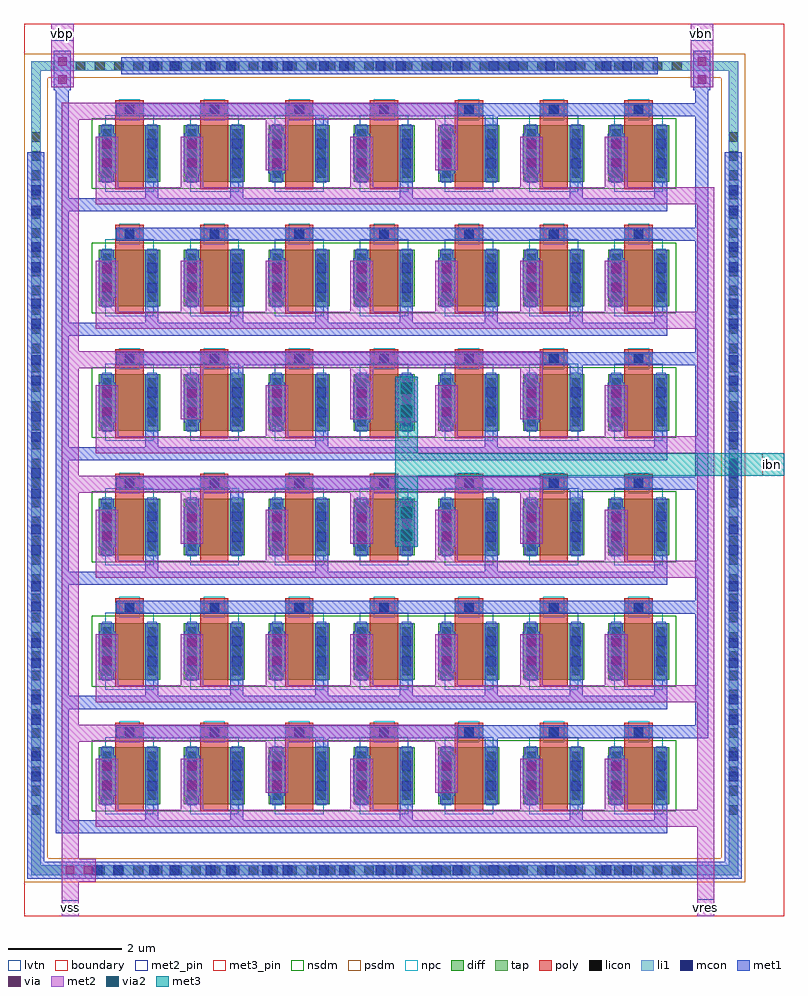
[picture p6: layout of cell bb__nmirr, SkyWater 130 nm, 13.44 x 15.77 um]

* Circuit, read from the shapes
.subckt bb__nmirr ibn vbn vbp vres vss
XM1 vbp vbn vres vss sky130_fd_pr__nfet_01v8_lvt w=1 l=0.5 m=32
XM2 vbn vbn vss vss sky130_fd_pr__nfet_01v8_lvt w=1 l=0.5 m=8
XM3 ibn vbn vss vss sky130_fd_pr__nfet_01v8_lvt w=1 l=0.5 m=2
.ends

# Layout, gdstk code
from math import pi, radians
import gdstk
lib = gdstk.Library(unit=1e-6, precision=1e-09)
def R(c, l, rs):  # rectangles x0, y0, x1, y1
    for r in rs: c.add(gdstk.rectangle(r[:2], r[2:], *l))
def A(c, l, x, y, w, h, nx, ny, dx, dy):  # array of equal rectangles
    R(c, l, [(x+i*dx, y+j*dy, x+i*dx+w, y+j*dy+h) for i in range(nx) for j in range(ny)])
diff = (65, 20)
tap = (65, 44)
poly = (66, 20)
licon = (66, 44)
li1 = (67, 20)
mcon = (67, 44)
met1 = (68, 20)
via = (68, 44)
met2_pin = (69, 16)
met2 = (69, 20)
via2 = (69, 44)
met3_pin = (70, 16)
met3 = (70, 20)
nsdm = (93, 44)
psdm = (94, 20)
npc = (95, 20)
lvtn = (125, 44)
boundary = (235, 4)

bbn__guardring_n = lib.new_cell('bbn__Guardring_N')
A(bbn__guardring_n, licon, 3.295, 1.675, 0.17, 0.17, 31, 1, 0.34, 0)
A(bbn__guardring_n, licon, 2.165, 2.74, 0.17, 0.17, 1, 36, 0, 0.34)
A(bbn__guardring_n, licon, 14.495, 2.74, 0.17, 0.17, 1, 36, 0, 0.34)
A(bbn__guardring_n, licon, 2.955, 15.895, 0.17, 0.17, 32, 1, 0.34, 0)
bbn__guardring_n.add(gdstk.FlexPath([(2.165,15.98),(14.58,15.98),(14.58,1.76),(2.25,1.76),(2.25,15.98)], 0.17, ends="flush", simple_path=True, layer=67, datatype=20))  # li1
bbn__guardring_n.add(gdstk.FlexPath([(2.165,15.98),(14.58,15.98),(14.58,1.76),(2.25,1.76),(2.25,15.98)], 0.17, ends="flush", simple_path=True, layer=65, datatype=44))  # tap
bbn__guardring_n.add(gdstk.FlexPath([(2.04,15.98),(14.58,15.98),(14.58,1.76),(2.25,1.76),(2.25,15.98)], 0.42, ends="flush", simple_path=True, layer=94, datatype=20))  # psdm

bbn__m2 = lib.new_cell('bbn__M2')
R(bbn__m2, diff, [(-0.54,-0.5,0.54,0.5)])
R(bbn__m2, poly, [(-0.25,-0.63,0.25,0.94)])
A(bbn__m2, licon, -0.48, -0.425, 0.17, 0.17, 1, 3, 0, 0.34)
A(bbn__m2, licon, 0.31, -0.425, 0.17, 0.17, 1, 3, 0, 0.34)
R(bbn__m2, licon, [(-0.085,0.69,0.085,0.86)])
R(bbn__m2, li1, [(-0.48,-0.52,-0.31,0.52), (0.31,-0.52,0.48,0.52), (-0.25,0.69,0.25,0.86)])
R(bbn__m2, mcon, [(-0.48,-0.265,-0.31,-0.095), (0.31,-0.265,0.48,-0.095), (-0.48,0.095,-0.31,0.265), (0.31,0.095,0.48,0.265), (-0.085,0.69,0.085,0.86)])
R(bbn__m2, met1, [(-0.51,-0.5,-0.28,0.5), (0.28,-0.5,0.51,0.5), (-0.23,0.66,0.23,0.89)])
R(bbn__m2, nsdm, [(-0.665,-0.625,0.665,0.625)])
R(bbn__m2, npc, [(-0.185,0.59,0.185,0.96)])
R(bbn__m2, lvtn, [(-0.43,-0.68,0.43,0.68)])

bbn__m3 = lib.new_cell('bbn__M3')
R(bbn__m3, diff, [(-0.54,-0.5,0.54,0.5)])
R(bbn__m3, poly, [(-0.25,-0.63,0.25,0.94)])
A(bbn__m3, licon, -0.48, -0.425, 0.17, 0.17, 1, 3, 0, 0.34)
A(bbn__m3, licon, 0.31, -0.425, 0.17, 0.17, 1, 3, 0, 0.34)
R(bbn__m3, licon, [(-0.085,0.69,0.085,0.86)])
R(bbn__m3, li1, [(-0.48,-0.52,-0.31,0.52), (0.31,-0.52,0.48,0.52), (-0.25,0.69,0.25,0.86)])
R(bbn__m3, mcon, [(-0.48,-0.265,-0.31,-0.095), (0.31,-0.265,0.48,-0.095), (-0.48,0.095,-0.31,0.265), (0.31,0.095,0.48,0.265), (-0.085,0.69,0.085,0.86)])
R(bbn__m3, met1, [(-0.51,-0.5,-0.28,0.5), (0.28,-0.5,0.51,0.5), (-0.23,0.66,0.23,0.89)])
R(bbn__m3, nsdm, [(-0.665,-0.625,0.665,0.625)])
R(bbn__m3, npc, [(-0.185,0.59,0.185,0.96)])
R(bbn__m3, lvtn, [(-0.43,-0.68,0.43,0.68)])

via__li_m1 = lib.new_cell('via__LI_M1')
R(via__li_m1, li1, [(0.03,0.03,0.56,0.2)])
R(via__li_m1, mcon, [(0.03,0.03,0.2,0.2), (0.39,0.03,0.56,0.2)])
R(via__li_m1, met1, [(0,0,0.59,0.23)])

bbn__m1 = lib.new_cell('bbn__M1')
R(bbn__m1, diff, [(-0.54,-0.5,0.54,0.5)])
R(bbn__m1, poly, [(-0.25,-0.63,0.25,0.94)])
A(bbn__m1, licon, -0.48, -0.425, 0.17, 0.17, 1, 3, 0, 0.34)
A(bbn__m1, licon, 0.31, -0.425, 0.17, 0.17, 1, 3, 0, 0.34)
R(bbn__m1, licon, [(-0.085,0.69,0.085,0.86)])
R(bbn__m1, li1, [(-0.48,-0.52,-0.31,0.52), (0.31,-0.52,0.48,0.52), (-0.25,0.69,0.25,0.86)])
R(bbn__m1, mcon, [(-0.48,-0.265,-0.31,-0.095), (0.31,-0.265,0.48,-0.095), (-0.48,0.095,-0.31,0.265), (0.31,0.095,0.48,0.265), (-0.085,0.69,0.085,0.86)])
R(bbn__m1, met1, [(-0.51,-0.5,-0.28,0.5), (0.28,-0.5,0.51,0.5), (-0.23,0.66,0.23,0.89)])
R(bbn__m1, nsdm, [(-0.665,-0.625,0.665,0.625)])
R(bbn__m1, npc, [(-0.185,0.59,0.185,0.96)])
R(bbn__m1, lvtn, [(-0.43,-0.68,0.43,0.68)])

via__m2_m3 = lib.new_cell('via__M2_M3')
R(via__m2_m3, met2, [(0,0,0.8,0.4)])
R(via__m2_m3, via2, [(0.1,0.1,0.3,0.3), (0.1,0.1,0.3,0.3), (0.5,0.1,0.7,0.3), (0.5,0.1,0.7,0.3)])
R(via__m2_m3, met3, [(0,0,0.8,0.4)])

via__m1_m2 = lib.new_cell('via__M1_M2')
R(via__m1_m2, met1, [(0,0.05,0.7,0.35)])
R(via__m1_m2, via, [(0.115,0.125,0.265,0.275), (0.435,0.125,0.585,0.275)])
R(via__m1_m2, met2, [(0.05,0,0.65,0.4)])

bb__nmirr = lib.new_cell('bb__nmirr')
A(bb__nmirr, met1, 0.565, 1.46, 10.81, 0.23, 1, 6, 0, 2.2)
A(bb__nmirr, met1, 3.645, 1.69, 0.23, 0.29, 3, 2, 3, 11)
A(bb__nmirr, met1, 1.635, 3.14, 9.46, 0.23, 1, 6, 0, 2.2)
A(bb__nmirr, met1, 2.145, 3.89, 0.23, 0.29, 7, 2, 1.5, 6.6)
A(bb__nmirr, met1, 2.145, 6.09, 0.23, 0.29, 4, 2, 3, 2.2)
R(bb__nmirr, met1, [(2.145,1.69,2.375,1.98), (11.145,1.69,11.375,1.98), (5.145,2.98,5.375,3.14), (8.145,2.98,8.375,3.14), (3.645,7.38,3.875,7.54), (9.645,7.38,9.875,7.54), (3.645,9.58,3.875,9.74), (9.645,9.58,9.875,9.74), (2.145,12.69,2.375,12.98), (11.145,12.69,11.375,12.98), (5.145,13.98,5.375,14.14), (8.145,13.98,8.375,14.14)])
R(bb__nmirr, met2_pin, [(0.67,0,0.97,0.28), (11.905,0,12.205,0.3), (0.48,15.47,0.88,15.77), (11.785,15.47,12.185,15.77)])
A(bb__nmirr, met2, 2.77, 1.88, 0.4, 0.3, 3, 2, 3, 5.3)
A(bb__nmirr, met2, 1.27, 4.08, 0.4, 0.3, 7, 2, 1.5, 6.6)
A(bb__nmirr, met2, 1.27, 6.28, 0.4, 0.3, 4, 2, 3, 2.2)
A(bb__nmirr, met2, 2.77, 9.38, 0.4, 0.3, 3, 2, 3, 3.5)
R(bb__nmirr, met2, [(1.27,1.88,1.67,2.18), (10.27,1.88,10.67,2.18), (4.27,2.78,4.67,3.08), (7.27,2.78,7.67,3.08), (1.27,12.88,1.67,13.18), (10.27,12.88,10.67,13.18), (4.27,13.78,4.67,14.08), (7.27,13.78,7.67,14.08), (0.48,15.25,0.88,15.77), (11.785,15.25,12.185,15.77)])
R(bb__nmirr, met3_pin, [(13.05,7.78,13.435,8.18)])
R(bb__nmirr, met3, [(6.56,7.23,6.96,8.73)])
A(bb__nmirr, nsdm, 1.2, 1.855, 10.33, 1.25, 1, 6, 0, 2.2)
R(bb__nmirr, boundary, [(0,0,13.435,15.77)])
bb__nmirr.add(gdstk.FlexPath([(1.32,0.81),(10.97,0.81)], 0.3, ends="extended", simple_path=True, layer=68, datatype=20))  # met1
bb__nmirr.add(gdstk.FlexPath([(10.97,0.81),(12.54,0.81),(12.54,13.35)], 0.3, ends="extended", simple_path=True, layer=68, datatype=20))  # met1
bb__nmirr.add(gdstk.FlexPath([(1.32,0.81),(0.21,0.81),(0.21,13.35)], 0.3, ends="extended", simple_path=True, layer=68, datatype=20))  # met1
bb__nmirr.add(gdstk.FlexPath([(1.87,15.03),(11.055,15.03)], 0.3, ends="extended", simple_path=True, layer=68, datatype=20))  # met1
bb__nmirr.add(gdstk.FlexPath([(11.985,14.255),(11.095,14.255)], 0.23, ends="flush", simple_path=True, layer=68, datatype=20))  # met1
bb__nmirr.add(gdstk.FlexPath([(11.985,12.055),(11.095,12.055)], 0.23, ends="flush", simple_path=True, layer=68, datatype=20))  # met1
bb__nmirr.add(gdstk.FlexPath([(11.985,9.855),(11.095,9.855)], 0.23, ends="flush", simple_path=True, layer=68, datatype=20))  # met1
bb__nmirr.add(gdstk.FlexPath([(11.985,7.655),(11.095,7.655)], 0.23, ends="flush", simple_path=True, layer=68, datatype=20))  # met1
bb__nmirr.add(gdstk.FlexPath([(11.985,5.455),(11.095,5.455)], 0.23, ends="flush", simple_path=True, layer=68, datatype=20))  # met1
bb__nmirr.add(gdstk.FlexPath([(11.985,3.255),(11.095,3.255)], 0.23, ends="flush", simple_path=True, layer=68, datatype=20))  # met1
bb__nmirr.add(gdstk.FlexPath([(11.985,15.185),(11.985,3.255)], 0.23, ends="extended", simple_path=True, layer=68, datatype=20))  # met1
bb__nmirr.add(gdstk.FlexPath([(0.68,15.185),(0.68,1.575)], 0.23, ends="extended", simple_path=True, layer=68, datatype=20))  # met1
bb__nmirr.add(gdstk.FlexPath([(6.76,7.98),(13.235,7.98)], 0.4, ends="extended", simple_path=True, layer=70, datatype=20))  # met3
bb__nmirr.add(gdstk.FlexPath([(1.42,12.73),(12.055,12.73)], 0.3, ends="extended", simple_path=True, layer=69, datatype=20))  # met2
bb__nmirr.add(gdstk.FlexPath([(1.42,10.53),(12.055,10.53)], 0.3, ends="extended", simple_path=True, layer=69, datatype=20))  # met2
bb__nmirr.add(gdstk.FlexPath([(1.42,8.33),(12.055,8.33)], 0.3, ends="extended", simple_path=True, layer=69, datatype=20))  # met2
bb__nmirr.add(gdstk.FlexPath([(1.42,6.13),(12.055,6.13)], 0.3, ends="extended", simple_path=True, layer=69, datatype=20))  # met2
bb__nmirr.add(gdstk.FlexPath([(1.42,3.93),(12.055,3.93)], 0.3, ends="extended", simple_path=True, layer=69, datatype=20))  # met2
bb__nmirr.add(gdstk.FlexPath([(1.42,1.73),(12.055,1.73)], 0.3, ends="extended", simple_path=True, layer=69, datatype=20))  # met2
bb__nmirr.add(gdstk.FlexPath([(0.82,14.23),(7.52,14.23)], 0.3, ends="extended", simple_path=True, layer=69, datatype=20))  # met2
bb__nmirr.add(gdstk.FlexPath([(0.82,14.23),(0.82,0.15)], 0.3, ends="extended", simple_path=True, layer=69, datatype=20))  # met2
bb__nmirr.add(gdstk.FlexPath([(0.82,9.83),(9.02,9.83)], 0.3, ends="extended", simple_path=True, layer=69, datatype=20))  # met2
bb__nmirr.add(gdstk.FlexPath([(0.82,7.63),(9.02,7.63)], 0.3, ends="extended", simple_path=True, layer=69, datatype=20))  # met2
bb__nmirr.add(gdstk.FlexPath([(0.82,3.23),(7.52,3.23)], 0.3, ends="extended", simple_path=True, layer=69, datatype=20))  # met2
bb__nmirr.add(gdstk.FlexPath([(12.055,12.73),(12.055,0.15)], 0.3, ends="extended", simple_path=True, layer=69, datatype=20))  # met2
bb__nmirr.add(gdstk.Reference(bbn__guardring_n, (-2.04,-0.95)))
bb__nmirr.add(gdstk.Reference(bbn__m2, (6.365,13.48)))
bb__nmirr.add(gdstk.Reference(bbn__m2, (6.365,11.28)))
bb__nmirr.add(gdstk.Reference(bbn__m2, (6.365,2.48)))
bb__nmirr.add(gdstk.Reference(bbn__m2, (6.365,4.68)))
bb__nmirr.add(gdstk.Reference(bbn__m3, (6.365,6.88)))
bb__nmirr.add(gdstk.Reference(bbn__m3, (6.365,9.08)))
bb__nmirr.add(gdstk.Reference(via__li_m1, (6.775,0.925), rotation=pi))
bb__nmirr.add(gdstk.Reference(via__li_m1, (6.775,15.145), rotation=pi))
bb__nmirr.add(gdstk.Reference(bbn__m2, (10.865,11.28)))
bb__nmirr.add(gdstk.Reference(bbn__m1, (9.365,9.08)))
bb__nmirr.add(gdstk.Reference(via__m2_m3, (6.56,9.53), rotation=3*pi/2))
bb__nmirr.add(gdstk.Reference(bbn__m1, (7.865,13.48)))
bb__nmirr.add(gdstk.Reference(bbn__m2, (9.365,13.48)))
bb__nmirr.add(gdstk.Reference(bbn__m2, (10.865,9.08)))
bb__nmirr.add(gdstk.Reference(bbn__m2, (7.865,9.08)))
bb__nmirr.add(gdstk.Reference(bbn__m2, (10.865,13.48)))
bb__nmirr.add(gdstk.Reference(bbn__m2, (7.865,11.28)))
bb__nmirr.add(gdstk.Reference(via__li_m1, (12.655,8.355), rotation=pi/2))
bb__nmirr.add(gdstk.Reference(via__li_m1, (12.655,9.355), rotation=pi/2))
bb__nmirr.add(gdstk.Reference(via__li_m1, (12.655,10.355), rotation=pi/2))
bb__nmirr.add(gdstk.Reference(via__li_m1, (12.655,11.355), rotation=pi/2))
bb__nmirr.add(gdstk.Reference(via__li_m1, (12.655,12.355), rotation=pi/2))
bb__nmirr.add(gdstk.Reference(via__li_m1, (12.655,8.355), rotation=pi/2))
bb__nmirr.add(gdstk.Reference(via__li_m1, (12.655,9.355), rotation=pi/2))
bb__nmirr.add(gdstk.Reference(via__li_m1, (12.655,10.355), rotation=pi/2))
bb__nmirr.add(gdstk.Reference(via__li_m1, (12.655,11.355), rotation=pi/2))
bb__nmirr.add(gdstk.Reference(via__li_m1, (12.655,12.355), rotation=pi/2))
bb__nmirr.add(gdstk.Reference(bbn__m2, (9.365,11.28)))
bb__nmirr.add(gdstk.Reference(via__li_m1, (7.775,15.145), rotation=pi))
bb__nmirr.add(gdstk.Reference(via__li_m1, (8.775,15.145), rotation=pi))
bb__nmirr.add(gdstk.Reference(via__li_m1, (9.775,15.145), rotation=pi))
bb__nmirr.add(gdstk.Reference(via__li_m1, (10.775,15.145), rotation=pi))
bb__nmirr.add(gdstk.Reference(via__m1_m2, (10.67,13.83), rotation=3*pi/2, x_reflection=True))
bb__nmirr.add(gdstk.Reference(via__m1_m2, (10.67,13.83), rotation=3*pi/2, x_reflection=True))
bb__nmirr.add(gdstk.Reference(via__m1_m2, (12.185,15.3), rotation=3*pi/2, x_reflection=True))
bb__nmirr.add(gdstk.Reference(via__m1_m2, (7.67,9.43), rotation=3*pi/2, x_reflection=True))
bb__nmirr.add(gdstk.Reference(via__m1_m2, (10.67,9.43), rotation=3*pi/2, x_reflection=True))
bb__nmirr.add(gdstk.Reference(via__m1_m2, (10.67,11.63), rotation=3*pi/2, x_reflection=True))
bb__nmirr.add(gdstk.Reference(via__m1_m2, (9.17,11.63), rotation=3*pi/2, x_reflection=True))
bb__nmirr.add(gdstk.Reference(via__m1_m2, (7.67,11.63), rotation=3*pi/2, x_reflection=True))
bb__nmirr.add(gdstk.Reference(via__m1_m2, (9.17,13.83), rotation=3*pi/2, x_reflection=True))
bb__nmirr.add(gdstk.Reference(via__m1_m2, (7.67,13.83), rotation=3*pi/2, x_reflection=True))
bb__nmirr.add(gdstk.Reference(via__m1_m2, (9.17,9.43), rotation=3*pi/2, x_reflection=True))
bb__nmirr.add(gdstk.Reference(via__m1_m2, (6.96,9.43), rotation=3*pi/2, x_reflection=True))
bb__nmirr.add(gdstk.Reference(via__li_m1, (0.325,12.355), rotation=pi/2))
bb__nmirr.add(gdstk.Reference(via__li_m1, (2.775,15.145), rotation=pi))
bb__nmirr.add(gdstk.Reference(via__li_m1, (3.775,15.145), rotation=pi))
bb__nmirr.add(gdstk.Reference(via__li_m1, (4.775,15.145), rotation=pi))
bb__nmirr.add(gdstk.Reference(via__li_m1, (5.775,15.145), rotation=pi))
bb__nmirr.add(gdstk.Reference(bbn__m2, (1.865,13.48)))
bb__nmirr.add(gdstk.Reference(bbn__m2, (1.865,11.28)))
bb__nmirr.add(gdstk.Reference(bbn__m1, (3.365,9.08)))
bb__nmirr.add(gdstk.Reference(bbn__m2, (3.365,11.28)))
bb__nmirr.add(gdstk.Reference(via__m1_m2, (4.67,13.83), rotation=3*pi/2, x_reflection=True))
bb__nmirr.add(gdstk.Reference(via__m1_m2, (6.17,13.83), rotation=3*pi/2, x_reflection=True))
bb__nmirr.add(gdstk.Reference(bbn__m2, (4.865,11.28)))
bb__nmirr.add(gdstk.Reference(via__m1_m2, (4.67,11.63), rotation=3*pi/2, x_reflection=True))
bb__nmirr.add(gdstk.Reference(via__m1_m2, (6.17,9.43), rotation=3*pi/2, x_reflection=True))
bb__nmirr.add(gdstk.Reference(via__m1_m2, (0.88,15.3), rotation=3*pi/2, x_reflection=True))
bb__nmirr.add(gdstk.Reference(via__m1_m2, (1.67,11.63), rotation=3*pi/2, x_reflection=True))
bb__nmirr.add(gdstk.Reference(via__m1_m2, (1.67,9.43), rotation=3*pi/2, x_reflection=True))
bb__nmirr.add(gdstk.Reference(via__m1_m2, (6.17,11.63), rotation=3*pi/2, x_reflection=True))
bb__nmirr.add(gdstk.Reference(via__m1_m2, (1.67,13.83), rotation=3*pi/2, x_reflection=True))
bb__nmirr.add(gdstk.Reference(via__m1_m2, (3.17,9.43), rotation=3*pi/2, x_reflection=True))
bb__nmirr.add(gdstk.Reference(via__m1_m2, (4.67,9.43), rotation=3*pi/2, x_reflection=True))
bb__nmirr.add(gdstk.Reference(bbn__m2, (3.365,13.48)))
bb__nmirr.add(gdstk.Reference(bbn__m1, (4.865,13.48)))
bb__nmirr.add(gdstk.Reference(bbn__m2, (4.865,9.08)))
bb__nmirr.add(gdstk.Reference(bbn__m2, (1.865,9.08)))
bb__nmirr.add(gdstk.Reference(via__li_m1, (0.325,8.355), rotation=pi/2))
bb__nmirr.add(gdstk.Reference(via__m1_m2, (3.17,13.83), rotation=3*pi/2, x_reflection=True))
bb__nmirr.add(gdstk.Reference(via__m1_m2, (3.17,11.63), rotation=3*pi/2, x_reflection=True))
bb__nmirr.add(gdstk.Reference(via__li_m1, (0.325,9.355), rotation=pi/2))
bb__nmirr.add(gdstk.Reference(via__m1_m2, (1.67,13.83), rotation=3*pi/2, x_reflection=True))
bb__nmirr.add(gdstk.Reference(via__li_m1, (0.325,10.355), rotation=pi/2))
bb__nmirr.add(gdstk.Reference(via__li_m1, (0.325,11.355), rotation=pi/2))
bb__nmirr.add(gdstk.Reference(via__m1_m2, (1.67,2.83), rotation=3*pi/2, x_reflection=True))
bb__nmirr.add(gdstk.Reference(via__m1_m2, (6.17,5.03), rotation=3*pi/2, x_reflection=True))
bb__nmirr.add(gdstk.Reference(via__li_m1, (0.325,2.355), rotation=pi/2))
bb__nmirr.add(gdstk.Reference(via__li_m1, (0.325,2.355), rotation=pi/2))
bb__nmirr.add(gdstk.Reference(via__m1_m2, (6.17,7.23), rotation=3*pi/2, x_reflection=True))
bb__nmirr.add(gdstk.Reference(via__li_m1, (0.325,3.355), rotation=pi/2))
bb__nmirr.add(gdstk.Reference(via__li_m1, (0.325,4.355), rotation=pi/2))
bb__nmirr.add(gdstk.Reference(via__m1_m2, (6.17,7.23), rotation=3*pi/2, x_reflection=True))
bb__nmirr.add(gdstk.Reference(via__m1_m2, (4.67,2.83), rotation=3*pi/2, x_reflection=True))
bb__nmirr.add(gdstk.Reference(via__li_m1, (0.325,5.355), rotation=pi/2))
bb__nmirr.add(gdstk.Reference(via__li_m1, (0.325,6.355), rotation=pi/2))
bb__nmirr.add(gdstk.Reference(via__m1_m2, (3.17,5.03), rotation=3*pi/2, x_reflection=True))
bb__nmirr.add(gdstk.Reference(via__m1_m2, (1.67,5.03), rotation=3*pi/2, x_reflection=True))
bb__nmirr.add(gdstk.Reference(via__li_m1, (0.325,7.355), rotation=pi/2))
bb__nmirr.add(gdstk.Reference(via__m1_m2, (4.67,7.23), rotation=3*pi/2, x_reflection=True))
bb__nmirr.add(gdstk.Reference(via__m1_m2, (3.17,7.23), rotation=3*pi/2, x_reflection=True))
bb__nmirr.add(gdstk.Reference(via__m1_m2, (3.17,2.83), rotation=3*pi/2, x_reflection=True))
bb__nmirr.add(gdstk.Reference(via__m1_m2, (1.67,7.23), rotation=3*pi/2, x_reflection=True))
bb__nmirr.add(gdstk.Reference(bbn__m2, (4.865,4.68)))
bb__nmirr.add(gdstk.Reference(via__m1_m2, (6.17,2.83), rotation=3*pi/2, x_reflection=True))
bb__nmirr.add(gdstk.Reference(bbn__m2, (3.365,4.68)))
bb__nmirr.add(gdstk.Reference(bbn__m2, (1.865,4.68)))
bb__nmirr.add(gdstk.Reference(bbn__m2, (4.865,6.88)))
bb__nmirr.add(gdstk.Reference(bbn__m2, (1.865,6.88)))
bb__nmirr.add(gdstk.Reference(bbn__m1, (3.365,6.88)))
bb__nmirr.add(gdstk.Reference(via__li_m1, (1.775,0.925), rotation=pi))
bb__nmirr.add(gdstk.Reference(via__li_m1, (2.775,0.925), rotation=pi))
bb__nmirr.add(gdstk.Reference(via__li_m1, (3.775,0.925), rotation=pi))
bb__nmirr.add(gdstk.Reference(via__li_m1, (4.775,0.925), rotation=pi))
bb__nmirr.add(gdstk.Reference(via__li_m1, (5.775,0.925), rotation=pi))
bb__nmirr.add(gdstk.Reference(bbn__m1, (4.865,2.48)))
bb__nmirr.add(gdstk.Reference(via__m1_m2, (4.67,5.03), rotation=3*pi/2, x_reflection=True))
bb__nmirr.add(gdstk.Reference(bbn__m2, (3.365,2.48)))
bb__nmirr.add(gdstk.Reference(bbn__m2, (1.865,2.48)))
bb__nmirr.add(gdstk.Reference(via__m1_m2, (1.32,0.61), rotation=pi, x_reflection=True))
bb__nmirr.add(gdstk.Reference(bbn__m1, (7.865,2.48)))
bb__nmirr.add(gdstk.Reference(bbn__m2, (10.865,4.68)))
bb__nmirr.add(gdstk.Reference(bbn__m2, (9.365,4.68)))
bb__nmirr.add(gdstk.Reference(bbn__m2, (7.865,4.68)))
bb__nmirr.add(gdstk.Reference(via__li_m1, (7.775,0.925), rotation=pi))
bb__nmirr.add(gdstk.Reference(via__li_m1, (8.775,0.925), rotation=pi))
bb__nmirr.add(gdstk.Reference(via__li_m1, (9.775,0.925), rotation=pi))
bb__nmirr.add(gdstk.Reference(via__li_m1, (10.775,0.925), rotation=pi))
bb__nmirr.add(gdstk.Reference(bbn__m2, (10.865,6.88)))
bb__nmirr.add(gdstk.Reference(via__li_m1, (12.655,2.355), rotation=pi/2))
bb__nmirr.add(gdstk.Reference(via__li_m1, (12.655,2.355), rotation=pi/2))
bb__nmirr.add(gdstk.Reference(via__li_m1, (12.655,3.355), rotation=pi/2))
bb__nmirr.add(gdstk.Reference(via__li_m1, (12.655,4.355), rotation=pi/2))
bb__nmirr.add(gdstk.Reference(via__li_m1, (12.655,5.355), rotation=pi/2))
bb__nmirr.add(gdstk.Reference(via__li_m1, (12.655,6.355), rotation=pi/2))
bb__nmirr.add(gdstk.Reference(via__li_m1, (12.655,7.355), rotation=pi/2))
bb__nmirr.add(gdstk.Reference(bbn__m2, (7.865,6.88)))
bb__nmirr.add(gdstk.Reference(via__m1_m2, (7.67,5.03), rotation=3*pi/2, x_reflection=True))
bb__nmirr.add(gdstk.Reference(via__m1_m2, (9.17,7.23), rotation=3*pi/2, x_reflection=True))
bb__nmirr.add(gdstk.Reference(via__m1_m2, (9.17,5.03), rotation=3*pi/2, x_reflection=True))
bb__nmirr.add(gdstk.Reference(via__m1_m2, (9.17,2.83), rotation=3*pi/2, x_reflection=True))
bb__nmirr.add(gdstk.Reference(via__m1_m2, (7.67,2.83), rotation=3*pi/2, x_reflection=True))
bb__nmirr.add(gdstk.Reference(via__li_m1, (12.655,3.355), rotation=pi/2))
bb__nmirr.add(gdstk.Reference(via__li_m1, (12.655,4.355), rotation=pi/2))
bb__nmirr.add(gdstk.Reference(via__m1_m2, (7.67,7.23), rotation=3*pi/2, x_reflection=True))
bb__nmirr.add(gdstk.Reference(via__m1_m2, (10.67,7.23), rotation=3*pi/2, x_reflection=True))
bb__nmirr.add(gdstk.Reference(via__m1_m2, (10.67,5.03), rotation=3*pi/2, x_reflection=True))
bb__nmirr.add(gdstk.Reference(via__m1_m2, (6.96,7.23), rotation=3*pi/2, x_reflection=True))
bb__nmirr.add(gdstk.Reference(via__li_m1, (12.655,5.355), rotation=pi/2))
bb__nmirr.add(gdstk.Reference(via__li_m1, (12.655,6.355), rotation=pi/2))
bb__nmirr.add(gdstk.Reference(via__m1_m2, (10.67,2.83), rotation=3*pi/2, x_reflection=True))
bb__nmirr.add(gdstk.Reference(via__li_m1, (12.655,7.355), rotation=pi/2))
bb__nmirr.add(gdstk.Reference(via__m2_m3, (6.56,7.33), rotation=3*pi/2))
bb__nmirr.add(gdstk.Reference(bbn__m2, (10.865,2.48)))
bb__nmirr.add(gdstk.Reference(bbn__m2, (9.365,2.48)))
bb__nmirr.add(gdstk.Reference(bbn__m1, (9.365,6.88)))
bb__nmirr.add(gdstk.Label('vres', (12.055,0.15), layer=69, texttype=16))
bb__nmirr.add(gdstk.Label('vss', (0.82,0.15), layer=69, texttype=16))
bb__nmirr.add(gdstk.Label('vbp', (0.68,15.61), layer=69, texttype=16))
bb__nmirr.add(gdstk.Label('vbn', (11.985,15.61), layer=69, texttype=16))
bb__nmirr.add(gdstk.Label('ibn', (13.23,7.98), layer=70, texttype=16))

lib.write_gds('bb__nmirr.gds')
